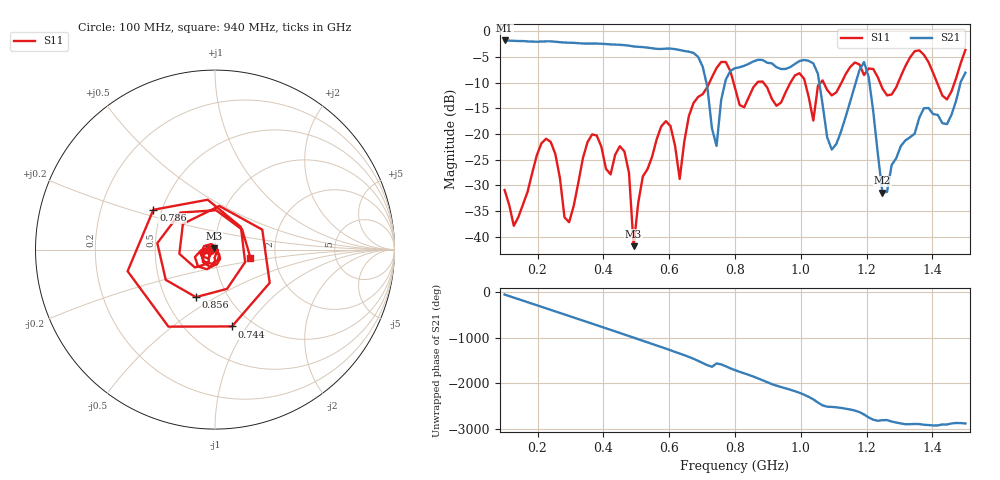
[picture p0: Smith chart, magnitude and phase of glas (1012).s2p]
! NanoVNA-App
! Date: 2025-09-25 16:03:21
! Start: 100MHz Stop: 1,5GHz Points: 101
! S-Parameter data: F S11 S21 S12 S22
# Hz S RI R 50
!  Frequency  S11_Real  S11_Imag  S21_Real  S21_Imag  S12_Real  S12_Imag  S22_Real  S22_Imag
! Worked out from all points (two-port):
!   101 points, 100 MHz to 1.5 GHz, reference 50 ohm
!   highest |S21| = -1.80 dB at 100 MHz (marker M1); lowest = -31.5 dB at 1.248 GHz (marker M2)
!   |S21| within 3 dB of the highest: start of sweep to 684.5 MHz
!   lowest |S11| = -41.8 dB at 492 MHz (marker M3), VSWR 1.02, Z = 49.5 + j0.627 ohm
!   |S11| at or under -10 dB: start of sweep to 722.4 MHz; 795.6 MHz to 867.9 MHz (72.32 MHz wide, 8.69 % of centre); 886.3 MHz to 968.6 MHz (82.27 MHz wide, 8.87 % of centre) (the widest 3 of 7)
!   S12 and S22 are empty: the file has one direction only
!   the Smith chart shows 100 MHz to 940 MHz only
!   S11 on the Smith chart (normalised r, x): 100 MHz: 0.94, -0.01; 744 MHz: 0.81, -0.85; 786 MHz: 0.45, +0.24; 856 MHz: 0.71, -0.41; 940 MHz: 1.48, -0.14
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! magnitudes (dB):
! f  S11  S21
! 100 MHz  -30.9  -1.8
! 128 MHz  -37.9  -1.9
! 226 MHz  -20.9  -2.0
! 296 MHz  -37.2  -2.2
! 338 MHz  -24.7  -2.4
! 464 MHz  -23.4  -2.7
! 492 MHz  -41.8  -3.0
! 576 MHz  -18.5  -3.5
! 632 MHz  -28.8  -3.7
! 702 MHz  -12.2  -6.9
! 744 MHz  -7.2  -22.3
! 786 MHz  -7.8  -7.7
! 800 MHz  -11.0  -7.2
! 856 MHz  -10.9  -5.9
! 940 MHz  -13.9  -7.4
! 996 MHz  -8.2  -5.8
! 1.038 GHz  -17.4  -6.3
! 1.094 GHz  -12.5  -23.0
! 1.192 GHz  -8.5  -6.0
! 1.248 GHz  -11.2  -31.5
! 1.276 GHz  -12.3  -26.0
! 1.5 GHz  -3.6  -8.1
